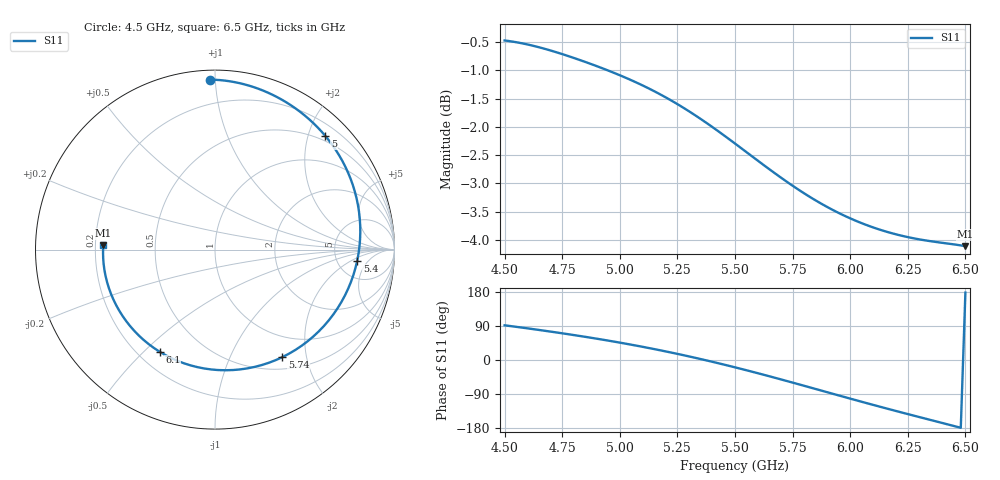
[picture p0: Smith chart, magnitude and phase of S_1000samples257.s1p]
! TOUCHSTONE file generated by CST MICROWAVE STUDIO
! Date and time: Thu Oct 27 13:17:22 2022
! Project name: L.cst
! Parameters = {Di=1.27; Epsilon_r=1.56; InnerDiameter=1.27; Length=2; Lf=10; Lg=60; OuterConductorThickness=0.2921; OuterDiameter=3.6; Wf=3; Wp=41.2; de=1.5; df=6.8; g=0.8; gx=4.8715; gy=2.91223; h=2.34; hf=1.524; px=12.9834; py=12.1772; w=9.7; wx=8.11186; wy=9.26501}
! Header version: 2018
! Port assignment regex: !\s*Touchstone port\s*([0-9]+)\s*=\s*(CST MWS port|CST DS port)\s*([0-9]+|Zmin|Zmax)\s*\(\"(.*)\"\)(\s*mode\s*([0-9]+))?.*
! Touchstone port assignment:
! Touchstone port 1 = CST MWS port 1 ("")
# GHz S DB R 50
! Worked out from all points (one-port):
!   101 points, 4.5 GHz to 6.5 GHz, reference 50 ohm
!   lowest |S11| = -4.1 dB at 6.5 GHz (marker M1), VSWR 4.30, Z = 11.6 + j0.874 ohm
!   |S11| at or under -10 dB: nowhere
!   S11 on the Smith chart (normalised r, x): 4.5 GHz: 0.05, +0.97; 5 GHz: 0.40, +2.31; 5.4 GHz: 7.83, -2.64; 5.74 GHz: 0.67, -1.60; 6.1 GHz: 0.29, -0.56; 6.5 GHz: 0.23, +0.02
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4.5  -0.47 91.5
4.64  -0.58 80.1
4.76  -0.72 69.5
4.88  -0.89 58.2
5  -1.09 45.8
5.06  -1.19 39.2
5.14  -1.35 29.9
5.2  -1.48 22.5
5.26  -1.62 14.8
5.34  -1.83 4.0
5.4  -2.00 -4.5
5.5  -2.29 -19.4
5.56  -2.48 -28.7
5.62  -2.66 -38.2
5.68  -2.84 -48.0
5.74  -3.01 -58.0
5.76  -3.07 -61.3
5.82  -3.23 -71.4
5.88  -3.37 -81.6
5.94  -3.50 -91.8
6  -3.62 -101.9
6.1  -3.78 -118.5
6.18  -3.88 -131.5
6.26  -3.96 -144.3
6.32  -4.00 -153.7
6.38  -4.04 -163.1
6.44  -4.07 -172.6
6.5  -4.11 177.9
